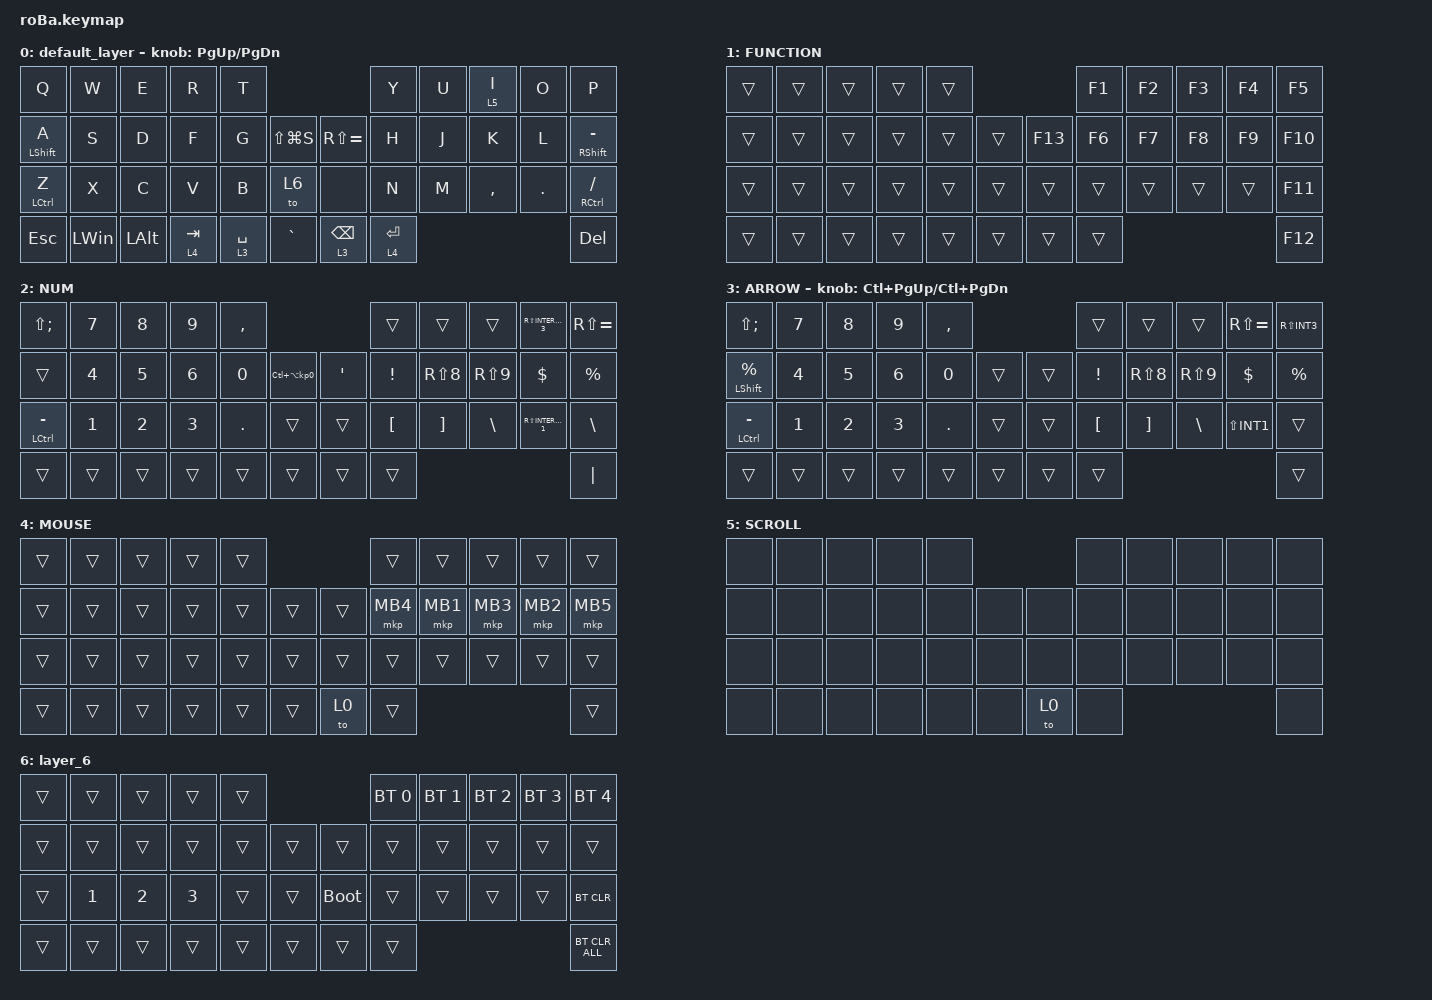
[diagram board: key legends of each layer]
#include <behaviors.dtsi>
#include <dt-bindings/zmk/bt.h>
#include <dt-bindings/zmk/keys.h>
#include <dt-bindings/zmk/pointing.h>

&mt {
    flavor = "tap-preferred";
    tapping-term-ms = <220>;
};

&lt {
    tapping-term-ms = <160>;
    quick-tap-ms = <125>;
    flavor = "tap-preferred";
};

&trackball {
    automouse-layer = <4>;
    scroll-layers = <5>;

    // arrows {
    //     layers = <3>;
    //     bindings =
    //         <&kp RIGHT_ARROW>,
    //         <&kp LEFT_ARROW>,
    //         <&kp UP_ARROW>,
    //         <&kp DOWN_ARROW>;
    //     tick = <10>;
    //     wait-ms = <5>;
    //     tap-ms = <5>;
    // };
};

/ {
    combos {
        compatible = "zmk,combos";

        double_quotation {
            bindings = <&kp DOUBLE_QUOTES>;
            key-positions = <20 21>;
        };
    };

    macros {
        to_layer_0: to_layer_0 {
            compatible = "zmk,behavior-macro-one-param";
            #binding-cells = <1>;
            bindings = <&to 0 &macro_param_1to1 &kp MACRO_PLACEHOLDER>;
            label = "TO_LAYER_0";
        };
    };

    behaviors {
        lt_to_layer_0: lt_to_layer_0 {
            compatible = "zmk,behavior-hold-tap";
            label = "LAYER_TAP_TO_0";
            bindings = <&mo>, <&to_layer_0>;

            #binding-cells = <2>;
            tapping-term-ms = <160>;
            flavor = "balanced";
        };
    };

    keymap {
        compatible = "zmk,keymap";

        default_layer {
            bindings = <
&kp Q             &kp W         &kp E         &kp R      &kp T                                            &kp Y        &kp U  &lt 5 I    &kp O    &kp P
&mt LEFT_SHIFT A  &kp S         &kp D         &kp F      &kp G        &kp LS(LG(S))      &kp RS(EQUAL)    &kp H        &kp J  &kp K      &kp L    &mt RIGHT_SHIFT MINUS
&mt LCTRL Z       &kp X         &kp C         &kp V      &kp B        &to 6              &none            &kp N        &kp M  &kp COMMA  &kp DOT  &mt RCTRL SLASH
&kp ESC           &kp LEFT_WIN  &kp LEFT_ALT  &lt 4 TAB  &lt 3 SPACE  &kp GRAVE          &lt 3 BACKSPACE  &lt 4 ENTER                             &kp DEL
            >;

            sensor-bindings = <&inc_dec_kp PG_UP PAGE_DOWN>;
        };

        FUNCTION {
            bindings = <
&trans  &trans  &trans  &trans  &trans                       &kp F1  &kp F2  &kp F3  &kp F4  &kp F5
&trans  &trans  &trans  &trans  &trans  &trans      &kp F13  &kp F6  &kp F7  &kp F8  &kp F9  &kp F10
&trans  &trans  &trans  &trans  &trans  &trans      &trans   &trans  &trans  &trans  &trans  &kp F11
&trans  &trans  &trans  &trans  &trans  &trans      &trans   &trans                          &kp F12
            >;
        };

        NUM {
            bindings = <
&kp LS(SEMICOLON)  &kp NUMBER_7  &kp NUMBER_8  &kp NUMBER_9  &kp COMMA                                                    &trans            &trans             &trans            &kp RS(INTERNATIONAL_3)  &kp RS(EQUAL)
&trans             &kp NUMBER_4  &kp N5        &kp NUMBER_6  &kp NUMBER_0  &kp LC(LA(KP_NUMBER_0))      &kp SINGLE_QUOTE  &kp EXCLAMATION   &kp RS(NUMBER_8)   &kp RS(NUMBER_9)  &kp DOLLAR               &kp PERCENT
&mt LCTRL MINUS    &kp NUMBER_1  &kp NUMBER_2  &kp NUMBER_3  &kp PERIOD    &trans                       &trans            &kp LEFT_BRACKET  &kp RIGHT_BRACKET  &kp BACKSLASH     &kp RS(INTERNATIONAL_1)  &kp BACKSLASH
&trans             &trans        &trans        &trans        &trans        &trans                       &trans            &trans                                                                          &kp PIPE
            >;
        };

        ARROW {
            bindings = <
&kp LS(SEMICOLON)       &kp N7  &kp N8  &kp N9  &kp COMMA                       &trans            &trans             &trans         &kp RS(EQUAL)  &kp RS(INT3)
&mt LEFT_SHIFT PERCENT  &kp N4  &kp N5  &kp N6  &kp N0      &trans      &trans  &kp EXCLAMATION   &kp RS(N8)         &kp RS(N9)     &kp DOLLAR     &kp PERCENT
&mt LCTRL MINUS         &kp N1  &kp N2  &kp N3  &kp PERIOD  &trans      &trans  &kp LEFT_BRACKET  &kp RIGHT_BRACKET  &kp BACKSLASH  &kp LS(INT1)   &trans
&trans                  &trans  &trans  &trans  &trans      &trans      &trans  &trans                                                             &trans
            >;

            sensor-bindings = <&inc_dec_kp LC(PAGE_UP) LC(PAGE_DOWN)>;
        };

        MOUSE {
            bindings = <
&trans  &trans  &trans  &trans  &trans                      &trans    &trans    &trans    &trans    &trans
&trans  &trans  &trans  &trans  &trans  &trans      &trans  &mkp MB4  &mkp MB1  &mkp MB3  &mkp MB2  &mkp MB5
&trans  &trans  &trans  &trans  &trans  &trans      &trans  &trans    &trans    &trans    &trans    &trans
&trans  &trans  &trans  &trans  &trans  &trans      &to 0   &trans                                  &trans
            >;
        };

        SCROLL {
            bindings = <
&none  &none  &none  &none  &none                    &none  &none  &none  &none  &none
&none  &none  &none  &none  &none  &none      &none  &none  &none  &none  &none  &none
&none  &none  &none  &none  &none  &none      &none  &none  &none  &none  &none  &none
&none  &none  &none  &none  &none  &none      &to 0  &none                       &none
            >;
        };

        layer_6 {
            bindings = <
&trans  &trans        &trans        &trans        &trans                           &bt BT_SEL 0  &bt BT_SEL 1  &bt BT_SEL 2  &bt BT_SEL 3  &bt BT_SEL 4
&trans  &trans        &trans        &trans        &trans  &trans      &trans       &trans        &trans        &trans        &trans        &trans
&trans  &kp NUMBER_1  &kp NUMBER_2  &kp NUMBER_3  &trans  &trans      &bootloader  &trans        &trans        &trans        &trans        &bt BT_CLR
&trans  &trans        &trans        &trans        &trans  &trans      &trans       &trans                                                  &bt BT_CLR_ALL
            >;
        };
    };
};
